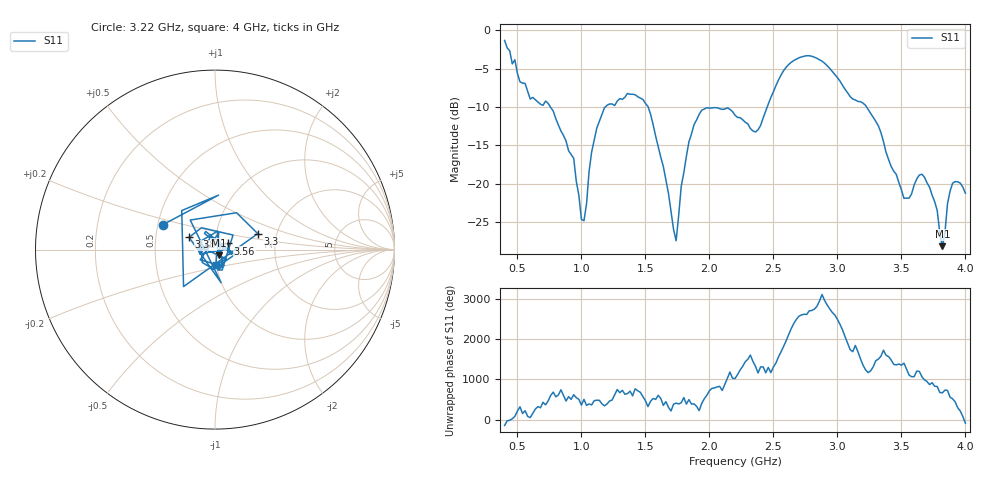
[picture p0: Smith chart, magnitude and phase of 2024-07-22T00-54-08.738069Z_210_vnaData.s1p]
!Created with skrf (http://scikit-rf.org).
# Hz S RI R 50.0
!freq ReS11 ImS11
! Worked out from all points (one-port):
!   181 points, 400 MHz to 4 GHz, reference 50 ohm
!   lowest |S11| = -28.2 dB at 3.82 GHz (marker M1), VSWR 1.08, Z = 52 - j3.42 ohm
!   |S11| at or under -10 dB: 757.4 MHz to 1.188 GHz (430.1 MHz wide, 44.2 % of centre); 1.521 GHz to 2.452 GHz (930.8 MHz wide, 46.9 % of centre); 3.227 GHz to end of sweep
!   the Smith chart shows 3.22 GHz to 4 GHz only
!   S11 on the Smith chart (normalised r, x): 3.22 GHz: 0.53, +0.16; 3.3 GHz: 1.59, +0.30; 3.38 GHz: 0.74, +0.10; 3.56 GHz: 1.15, +0.08; 4 GHz: 0.99, -0.17
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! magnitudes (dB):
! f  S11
! 400 MHz  -1.3
! 600 MHz  -9.0
! 740 MHz  -9.5
! 860 MHz  -13.7
! 940 MHz  -16.7
! 1 GHz  -24.7
! 1.02 GHz  -24.9
! 1.12 GHz  -12.8
! 1.3 GHz  -8.9
! 1.52 GHz  -9.9
! 1.74 GHz  -27.5
! 1.76 GHz  -24.2
! 1.84 GHz  -14.6
! 1.92 GHz  -11.0
! 2.2 GHz  -11.1
! 2.38 GHz  -13.0
! 2.66 GHz  -3.9
! 2.88 GHz  -4.0
! 3.1 GHz  -8.7
! 3.22 GHz  -9.8
! 3.3 GHz  -11.9
! 3.38 GHz  -15.9
! 3.56 GHz  -21.9
! 3.68 GHz  -19.2
! 3.78 GHz  -23.5
! 3.82 GHz  -28.2
! 3.9 GHz  -20.0
! 4 GHz  -21.3
